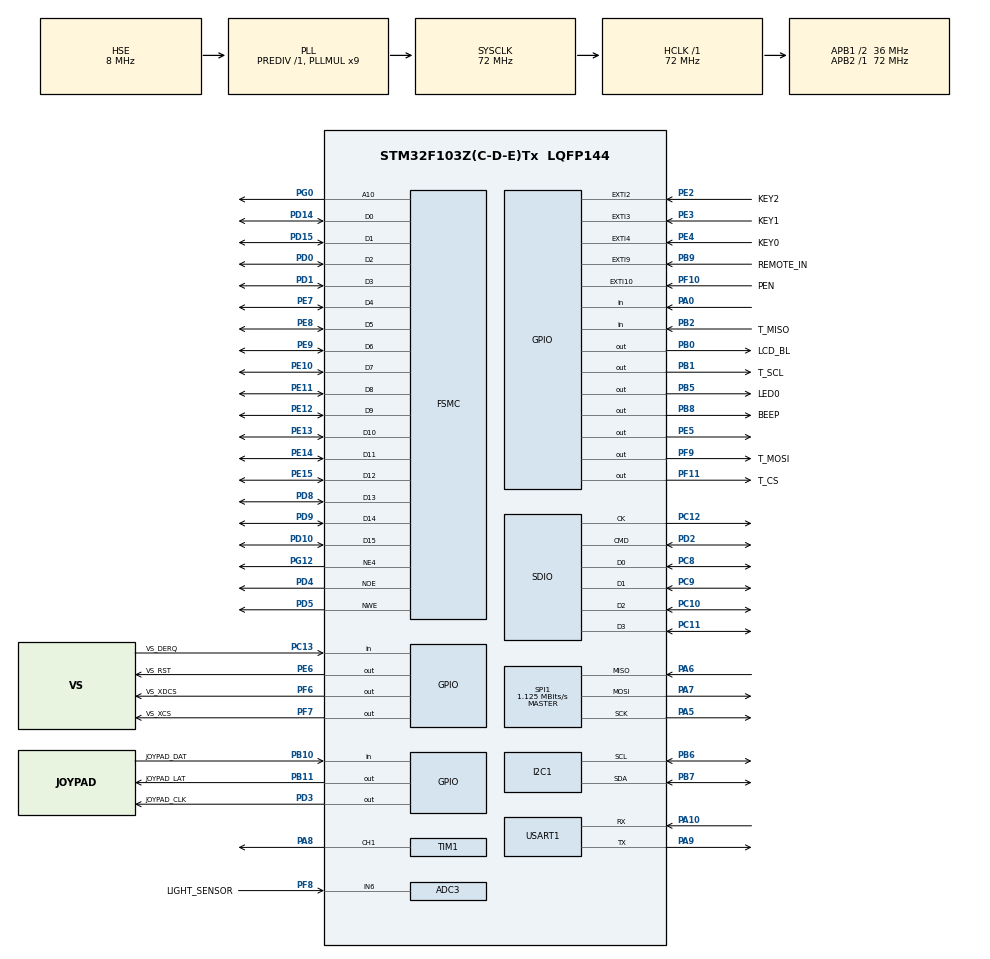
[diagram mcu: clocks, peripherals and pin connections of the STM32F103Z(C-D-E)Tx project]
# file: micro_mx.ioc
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SH.FSMC_D1_DA1.0=FSMC_D1,16b-d1
SPI1.VirtualType=VM_MASTER
FATFS0.BSP.api=Unknown
VP_ADC1_TempSens_Input.Mode=IN-TempSens
VP_FATFS_VS_SDIO.Mode=SDIO
PC12.Signal=SDIO_CK
SH.FSMC_NWE.0=FSMC_NWE,Lcd1
PG0.Signal=FSMC_A10
FATFS._FS_TINY=0
PF6.GPIO_Label=VS_XDCS
PE6.GPIO_Label=VS_RST
RCC.SYSCLKSource=RCC_SYSCLKSOURCE_PLLCLK
PF7.Signal=GPIO_Output
SPI1.Direction=SPI_DIRECTION_2LINES
PD4.Signal=FSMC_NOE
RCC.APB2TimFreq_Value=72000000
PB6.Signal=I2C1_SCL
PB6.Mode=I2C
SPI1.CalculateBaudRate=1.125 MBits/s
PD0.Signal=FSMC_D2_DA2
PD8.Signal=FSMC_D13_DA13
PE5.Signal=GPIO_Output
PF10.GPIO_Label=PEN
FATFS0.BSP.ip=GPIO
NVIC.EXTI15_10_IRQn=true\:0\:0\:false\:false\:true\:true\:true
PB2.Signal=GPIO_Input
PB3.Mode=JTAG_5_pins
FATFS0.BSP.i2caddr=0
ADC3.SamplingTime-2\#ChannelRegularConversion=ADC_SAMPLETIME_1CYCLE_5
RCC.RTCClockSelection=RCC_RTCCLKSOURCE_LSE
SH.FSMC_D10_DA10.0=FSMC_D10,16b-d1
TIM1.Channel-PWM\ Generation1\ CH1=TIM_CHANNEL_1
PE9.Signal=FSMC_D6_DA6
PB1.GPIO_Label=T_SCL
ADC3.ContinuousConvMode=ENABLE
NVIC.TIM2_IRQn=true\:0\:0\:false\:false\:true\:true\:true
PE4.GPIO_Label=KEY0
PC9.Mode=SD_4_bits_Wide_bus
PE2.Signal=GPXTI2
PA8.Signal=S_TIM1_CH1
FSMC.BusTurnAroundDuration1=0
ADC3.Channel-2\#ChannelRegularConversion=ADC_CHANNEL_6
PE10.Signal=FSMC_D7_DA7
SH.FSMC_D5_DA5.0=FSMC_D5,16b-d1
VP_TIM1_VS_ClockSourceINT.Mode=Internal
ADC1.SamplingTime-0\#ChannelRegularConversion=ADC_SAMPLETIME_1CYCLE_5
Mcu.Package=LQFP144
PB9.Signal=GPXTI9
TIM2.Prescaler=72
PB1.Signal=GPIO_Output
FATFS0.BSP.solution=PA0-WKUP
PA10.Signal=USART1_RX
PC11.Mode=SD_4_bits_Wide_bus
NVIC.EXTI2_IRQn=true\:3\:0\:true\:false\:true\:true\:true
SH.FSMC_D3_DA3.0=FSMC_D3,16b-d1
RCC.APB1TimFreq_Value=72000000
Dma.SDIO.0.Direction=DMA_PERIPH_TO_MEMORY
TIM1.Period=1000
NVIC.USART1_IRQn=true\:0\:0\:false\:false\:true\:true\:true
PD15.Signal=FSMC_D1_DA1
PA5.Mode=Full_Duplex_Master
PG12.Signal=FSMC_NE4
PF7.PinState=GPIO_PIN_SET
FATFS0.BSP.STBoard=false
NVIC.EXTI4_IRQn=true\:3\:0\:true\:false\:true\:true\:true
ADC1.Rank-0\#ChannelRegularConversion=1
FATFS0.BSP.mode=Input
PD3.Signal=GPIO_Output
PB11.GPIO_Label=JOYPAD_LAT
RCC.USBPrescaler=RCC_USBCLKSOURCE_PLL_DIV1_5
PD1.Signal=FSMC_D3_DA3
SH.FSMC_D9_DA9.0=FSMC_D9,16b-d1
Dma.SDIO.0.MemDataAlignment=DMA_MDATAALIGN_WORD
RCC.APB1CLKDivider=RCC_HCLK_DIV2
PC14-OSC32_IN.Signal=RCC_OSC32_IN
PA0-WKUP.Signal=GPIO_Input
SH.FSMC_D8_DA8.0=FSMC_D8,16b-d1
PF8.GPIO_Label=LIGHT_SENSOR
PD10.Signal=FSMC_D15_DA15
PB8.GPIO_Label=BEEP
FSMC.DataSetupTime1=26
I2C1.I2C_Mode=I2C_Standard
PA9.Signal=USART1_TX
Dma.SDIO.0.MemInc=DMA_MINC_ENABLE
OSC_IN.Signal=RCC_OSC_IN
Dma.SDIO.0.PeriphDataAlignment=DMA_PDATAALIGN_WORD
SDIO.ClockDiv=3
PB10.Signal=GPIO_Input
FATFS.BSP.number=1
PE2.GPIO_PuPd=GPIO_PULLUP
PA5.Signal=SPI1_SCK
PC12.Mode=SD_4_bits_Wide_bus
SH.FSMC_D7_DA7.0=FSMC_D7,16b-d1
PC13-TAMPER-RTC.GPIO_Label=VS_DERQ
NVIC.TIM3_IRQn=true\:0\:0\:false\:false\:true\:true\:true
PE14.Signal=FSMC_D11_DA11
PE15.Signal=FSMC_D12_DA12
PE8.Signal=FSMC_D5_DA5
SPI1.Mode=SPI_MODE_MASTER
PE3.GPIO_PuPd=GPIO_PULLUP
TIM2.Period=125
PA13.Mode=JTAG_5_pins
PE4.GPIO_PuPd=GPIO_PULLUP
PC8.Mode=SD_4_bits_Wide_bus
PB5.Signal=GPIO_Output
ADC1.master=1
OSC_IN.Mode=HSE-External-Oscillator
Dma.SDIO.0.PeriphInc=DMA_PINC_DISABLE
USART1.VirtualMode=VM_ASYNC
SH.FSMC_D15_DA15.0=FSMC_D15,16b-d1
ProjectManager.HeapSize=0x400
PF9.Signal=GPIO_Output
NVIC.PriorityGroup=NVIC_PRIORITYGROUP_4
SDIO.HardwareFlowControl=SDIO_HARDWARE_FLOW_CONTROL_DISABLE
PE3.Signal=GPXTI3
PA0-WKUP.GPIO_PuPd=GPIO_PULLUP
PE2.GPIO_ModeDefaultEXTI=GPIO_MODE_IT_FALLING
PD2.Signal=SDIO_CMD
PB0.Signal=GPIO_Output
FATFS0.BSP.name=Detect_SDIO
Mcu.Family=STM32F1
FSMC.AddressSetupTime1=6
PA6.Mode=Full_Duplex_Master
ADC1.ContinuousConvMode=ENABLE
PC10.Signal=SDIO_D2
SH.FSMC_D0_DA0.0=FSMC_D0,16b-d1
NVIC.EXTI3_IRQn=true\:3\:0\:true\:false\:true\:true\:true
PB0.GPIO_Label=LCD_BL
PF10.GPIO_ModeDefaultEXTI=GPIO_MODE_IT_FALLING
TIM1.Pulse-PWM\ Generation1\ CH1=0
TIM1.OCFastMode_PWM-PWM\ Generation1\ CH1=TIM_OCFAST_ENABLE
PB11.Signal=GPIO_Output
ADC3.Rank-2\#ChannelRegularConversion=1
ProjectManager.StackSize=0x800
RCC.HCLKFreq_Value=72000000
TIM3.Period=7190
PF11.GPIO_Label=T_CS
PB5.PinState=GPIO_PIN_SET
PB9.GPIO_ModeDefaultEXTI=GPIO_MODE_IT_FALLING
OSC_OUT.Mode=HSE-External-Oscillator
SH.FSMC_A10.0=FSMC_A10,A10_1
OSC_OUT.Signal=RCC_OSC_OUT
RCC.AHBFreq_Value=72000000
ADC1.Channel-0\#ChannelRegularConversion=ADC_CHANNEL_TEMPSENSOR
Dma.SDIO.0.Priority=DMA_PRIORITY_LOW
PA15.Mode=JTAG_5_pins
RCC.PLLMUL=RCC_PLL_MUL9
PB4.Mode=JTAG_5_pins
PE13.Signal=FSMC_D10_DA10
SH.FSMC_D14_DA14.0=FSMC_D14,16b-d1
PF7.GPIO_Label=VS_XCS
PC14-OSC32_IN.Mode=LSE-External-Oscillator
PA14.Mode=JTAG_5_pins
TIM3.Prescaler=999
PF11.Signal=GPIO_Output
SH.FSMC_D6_DA6.0=FSMC_D6,16b-d1
PF11.PinState=GPIO_PIN_SET
PB7.Signal=I2C1_SDA
PE4.Signal=GPXTI4
SH.FSMC_D4_DA4.0=FSMC_D4,16b-d1
PA6.Signal=SPI1_MISO
SH.FSMC_D13_DA13.0=FSMC_D13,16b-d1
PA15.Signal=SYS_JTDI
PF8.Signal=SharedAnalog_PF8
PB5.GPIO_Label=LED0
SH.FSMC_D2_DA2.0=FSMC_D2,16b-d1
PD3.GPIO_Label=JOYPAD_CLK
NVIC.DMA2_Channel4_5_IRQn=true\:0\:0\:false\:false\:true\:false\:true
PE7.Signal=FSMC_D4_DA4
Dma.Request0=SDIO
SPI1.BaudRatePrescaler=SPI_BAUDRATEPRESCALER_64
PE2.GPIO_Label=KEY2
VP_TIM3_VS_ClockSourceINT.Mode=Internal
PB4.Signal=SYS_NJTRST
Dma.SDIO.0.Instance=DMA2_Channel4
PE3.GPIO_ModeDefaultEXTI=GPIO_MODE_IT_FALLING
RCC.PLLSourceVirtual=RCC_PLLSOURCE_HSE
PC15-OSC32_OUT.Mode=LSE-External-Oscillator
SH.FSMC_D12_DA12.0=FSMC_D12,16b-d1
PA7.Mode=Full_Duplex_Master
PB9.GPIO_Label=REMOTE_IN
PA10.Mode=Asynchronous
PC11.Signal=SDIO_D3
PC8.Signal=SDIO_D0
PC10.Mode=SD_4_bits_Wide_bus
PE4.GPIO_ModeDefaultEXTI=GPIO_MODE_IT_FALLING
PC13-TAMPER-RTC.Signal=GPIO_Input
PD9.Signal=FSMC_D14_DA14
PD5.Signal=FSMC_NWE
SH.SharedAnalog_PF8.1=ADC3_IN6,IN6
NVIC.SDIO_IRQn=true\:0\:0\:false\:false\:true\:true\:true
SH.SharedAnalog_PF8.0=GPIO_Analog
RCC.ADCPresc=RCC_ADCPCLK2_DIV6
SDIO.ClockBypass=SDIO_CLOCK_BYPASS_DISABLE
FATFS0.BSP.instance=PA0-WKUP
PA13.Signal=SYS_JTMS-SWDIO
PA9.Mode=Asynchronous
SH.S_TIM1_CH1.0=TIM1_CH1,PWM Generation1 CH1
PF6.Signal=GPIO_Output
ProjectManager.TargetToolchain=STM32CubeIDE
PB10.GPIO_Label=JOYPAD_DAT
RCC.USBFreq_Value=48000000
PF9.GPIO_Label=T_MOSI
PE11.Signal=FSMC_D8_DA8
PC15-OSC32_OUT.Signal=RCC_OSC32_OUT
PD2.Mode=SD_4_bits_Wide_bus
board=custom
PG12.Mode=NorPsramChipSelect4_1
RCC.APB2Freq_Value=72000000
VP_TIM2_VS_ClockSourceINT.Mode=Internal
PF10.Signal=GPXTI10
Dma.SDIO.0.Mode=DMA_NORMAL
PE6.Signal=GPIO_Output
Mcu.Name=STM32F103Z(C-D-E)Tx
PE12.Signal=FSMC_D9_DA9
PD14.Signal=FSMC_D0_DA0
PB3.Signal=SYS_JTDO-TRACESWO
RCC.SYSCLKFreq_VALUE=72000000
PB7.Mode=I2C
NVIC.EXTI9_5_IRQn=true\:0\:0\:false\:false\:true\:true\:true
PA14.Signal=SYS_JTCK-SWCLK
PB2.GPIO_Label=T_MISO
SH.FSMC_D11_DA11.0=FSMC_D11,16b-d1
SH.FSMC_NOE.0=FSMC_NOE,Lcd1
ADC1.NbrOfConversionFlag=1
PB8.Signal=GPIO_Output
PE3.GPIO_Label=KEY1
PC9.Signal=SDIO_D1
RCC.APB1Freq_Value=36000000
ADC3.NbrOfConversionFlag=1
PA7.Signal=SPI1_MOSI

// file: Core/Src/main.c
/* USER CODE BEGIN Header */
/**
  ******************************************************************************
  * @file           : main.c
  * @brief          : Main program body
  ******************************************************************************
  * @attention
  *
  * <h2><center>&copy; Copyright (c) 2021 STMicroelectronics.
  * All rights reserved.</center></h2>
  *
  * This software component is licensed by ST under BSD 3-Clause license,
  * the "License"; You may not use this file except in compliance with the
  * License. You may obtain a copy of the License at:
  *                        opensource.org/licenses/BSD-3-Clause
  *
  ******************************************************************************
  */
/* USER CODE END Header */
#include "main.h"
#include "fatfs.h"

ADC_HandleTypeDef hadc1;
ADC_HandleTypeDef hadc3;

I2C_HandleTypeDef hi2c1;

SD_HandleTypeDef hsd;
DMA_HandleTypeDef hdma_sdio;

SPI_HandleTypeDef hspi1;

TIM_HandleTypeDef htim1;
TIM_HandleTypeDef htim2;
TIM_HandleTypeDef htim3;

UART_HandleTypeDef huart1;

SRAM_HandleTypeDef hsram1;

/* USER CODE BEGIN PV */

uint8_t touch_flag;
unsigned int t_cnt=0;
int t_ctrl = 0;
int check=1;
int up_flag=0;
int down_flag=0;
int timeout=0;
uint8_t change=0;
uint16_t q=0;
extern uint8_t two_touch;
extern uint8_t vol_check;
uint8_t vol_flag=0;

uint8_t joypad[10];

/* USER CODE END PV */

void SystemClock_Config(void);
static void MX_GPIO_Init(void);
static void MX_DMA_Init(void);
static void MX_USART1_UART_Init(void);
static void MX_ADC1_Init(void);
static void MX_ADC3_Init(void);
static void MX_I2C1_Init(void);
static void MX_TIM1_Init(void);
static void MX_SPI1_Init(void);
static void MX_FSMC_Init(void);
static void MX_SDIO_SD_Init(void);
static void MX_TIM2_Init(void);
static void MX_TIM3_Init(void);

/* USER CODE BEGIN 0 */
char filname[100][20];
unsigned long filsize[100];
uint16_t musicfil[100];
uint16_t musiccnt=0;
uint16_t filnum=0;
BYTE buf[32];
uint32_t br;
uint8_t type=1;
char playingtime[10];

/* USER CODE END 0 */

int main(void)
{

  /* MCU Configuration--------------------------------------------------------*/

  /* Reset of all peripherals, Initializes the Flash interface and the Systick. */
  HAL_Init();

  /* Configure the system clock */
  SystemClock_Config();

  /* Initialize all configured peripherals */
  MX_GPIO_Init();
  MX_DMA_Init();
  MX_USART1_UART_Init();
  MX_ADC1_Init();
  MX_ADC3_Init();
  MX_I2C1_Init();
  MX_TIM1_Init();
  MX_SPI1_Init();
  MX_FSMC_Init();
  MX_SDIO_SD_Init();
  MX_FATFS_Init();
  MX_TIM2_Init();
  MX_TIM3_Init();
  /* USER CODE BEGIN 2 */

  //SD카드 마운트
  retSD = f_mount(&SDFatFS, (TCHAR const*)SDPath, 0);
  HAL_Delay(100);
  retSD = f_mkfs((TCHAR const*)SDPath, 0, 0);
  HAL_Delay(100);

  //SD 카드 파일 읽기
  DIR mydir;
  FILINFO fno;
  if((retSD = f_opendir(&mydir,"0:/"))==FR_OK)
  {
	  while(1)
	  {
		  retSD=f_readdir(&mydir,&fno);
		  if(mydir.sect ==  0) break;
		  sprintf(filname[filnum],"%s",fno.fname);
		  filsize[filnum]=fno.fsize;
		  filnum++;
	  }
  }
  sprintf(filname[0],"\0");

  //음원 파일 선별
  uint16_t len=0;
  for(int i=0;i<filnum;i++)
  {
	  len=strlen(filname[i]);
	  if((filname[i][len-1]=='3')&&(filname[i][len-4]=='.'))
	  {
		  musicfil[musiccnt]=i;
		  musiccnt++;
	  }
  }

  //LCD 초기화
  LCD_BL_on();
  LCD_init();

  //LCD 초기 화면 구성
  LCD_Draw_Base();
  LCD_Menu_Set();

  //스피커 사용을 위한 초기화
  MP3_Init();
  Codex_Speaker_on();
  Codex_Vol(0xf0f0);

  //실시간 타이머 (10Hz 사용)
  HAL_TIM_Base_Start_IT(&htim3);

  /* USER CODE END 2 */

  /* Infinite loop */
  /* USER CODE BEGIN WHILE */

  //인터럽트의 결과값을 받아 WHILE로 재생 ( 인터럽트 충돌 및 음원파일 오류를 차단 )
  while (1)
  {
	  //더블 터치 -> TYPE 변경
	  if(two_touch>=2)
	  {
		  type=(type+1)%4;
		  LCD_Type(type);
		  two_touch=0;
		  change=0;
	  }
	  //15초간 동작 없으면 화면 off
	  if(timeout==150)
		  LCD_BL_off();

	  if(vol_flag==1)
	  {
		  //그림이 여러번 그려지는 것을 막기 위해 2로 세팅
		  vol_flag=2;

		  // 볼륨 기본세팅을 모두 으로 하여 볼륨바 제거
		  LCD_Draw_Box(48, 26,70,150, COLOR_WHITE);
		  LCD_Draw_Str(46, 148, "+", COLOR_WHITE, 0);
		  LCD_Draw_Str(74, 148, "-", COLOR_WHITE, 0);

		  //음표 그림
		  LCD_Draw_Char1(80, 60,COLOR_BLACK,20 ,31);
	  }

	  //노래 동작 및 1초가 지날때마다 작동
	  if((t_cnt%10==0)&&(check==0))
	  {
		  upTime();
		  check=1;
	  }

	  //음악 재생
	  MP3_Feeder();

	  //터치
	  if(touch_flag==1)
	  {
		  Touch_read();
		  touch_flag=0;
	  }

	  //메뉴에서 노래 선택 위치
	  if(up_flag==1)
	  {
		  upclick();
		  up_flag=0;
	  }
	  if(down_flag==1)
	  {
		  downclick();
		  down_flag=0;
	  }

    /* USER CODE END WHILE */

  }
}

void SystemClock_Config(void)
{
  RCC_OscInitTypeDef RCC_OscInitStruct = {0};
  RCC_ClkInitTypeDef RCC_ClkInitStruct = {0};
  RCC_PeriphCLKInitTypeDef PeriphClkInit = {0};

  /** Initializes the RCC Oscillators according to the specified parameters
  * in the RCC_OscInitTypeDef structure.
  */
  RCC_OscInitStruct.OscillatorType = RCC_OSCILLATORTYPE_HSE;
  RCC_OscInitStruct.HSEState = RCC_HSE_ON;
  RCC_OscInitStruct.HSEPredivValue = RCC_HSE_PREDIV_DIV1;
  RCC_OscInitStruct.HSIState = RCC_HSI_ON;
  RCC_OscInitStruct.PLL.PLLState = RCC_PLL_ON;
  RCC_OscInitStruct.PLL.PLLSource = RCC_PLLSOURCE_HSE;
  RCC_OscInitStruct.PLL.PLLMUL = RCC_PLL_MUL9;
  if (HAL_RCC_OscConfig(&RCC_OscInitStruct) != HAL_OK)
  {
    Error_Handler();
  }
  /** Initializes the CPU, AHB and APB buses clocks
  */
  RCC_ClkInitStruct.ClockType = RCC_CLOCKTYPE_HCLK|RCC_CLOCKTYPE_SYSCLK
                              |RCC_CLOCKTYPE_PCLK1|RCC_CLOCKTYPE_PCLK2;
  RCC_ClkInitStruct.SYSCLKSource = RCC_SYSCLKSOURCE_PLLCLK;
  RCC_ClkInitStruct.AHBCLKDivider = RCC_SYSCLK_DIV1;
  RCC_ClkInitStruct.APB1CLKDivider = RCC_HCLK_DIV2;
  RCC_ClkInitStruct.APB2CLKDivider = RCC_HCLK_DIV1;

  if (HAL_RCC_ClockConfig(&RCC_ClkInitStruct, FLASH_LATENCY_2) != HAL_OK)
  {
    Error_Handler();
  }
  PeriphClkInit.PeriphClockSelection = RCC_PERIPHCLK_ADC;
  PeriphClkInit.AdcClockSelection = RCC_ADCPCLK2_DIV6;
  if (HAL_RCCEx_PeriphCLKConfig(&PeriphClkInit) != HAL_OK)
  {
    Error_Handler();
  }
}

static void MX_ADC1_Init(void)
{

  ADC_ChannelConfTypeDef sConfig = {0};

  /** Common config
  */
  hadc1.Instance = ADC1;
  hadc1.Init.ScanConvMode = ADC_SCAN_DISABLE;
  hadc1.Init.ContinuousConvMode = ENABLE;
  hadc1.Init.DiscontinuousConvMode = DISABLE;
  hadc1.Init.ExternalTrigConv = ADC_SOFTWARE_START;
  hadc1.Init.DataAlign = ADC_DATAALIGN_RIGHT;
  hadc1.Init.NbrOfConversion = 1;
  if (HAL_ADC_Init(&hadc1) != HAL_OK)
  {
    Error_Handler();
  }
  /** Configure Regular Channel
  */
  sConfig.Channel = ADC_CHANNEL_TEMPSENSOR;
  sConfig.Rank = ADC_REGULAR_RANK_1;
  sConfig.SamplingTime = ADC_SAMPLETIME_1CYCLE_5;
  if (HAL_ADC_ConfigChannel(&hadc1, &sConfig) != HAL_OK)
  {
    Error_Handler();
  }

}

static void MX_ADC3_Init(void)
{

  ADC_ChannelConfTypeDef sConfig = {0};

  /** Common config
  */
  hadc3.Instance = ADC3;
  hadc3.Init.ScanConvMode = ADC_SCAN_DISABLE;
  hadc3.Init.ContinuousConvMode = ENABLE;
  hadc3.Init.DiscontinuousConvMode = DISABLE;
  hadc3.Init.ExternalTrigConv = ADC_SOFTWARE_START;
  hadc3.Init.DataAlign = ADC_DATAALIGN_RIGHT;
  hadc3.Init.NbrOfConversion = 1;
  if (HAL_ADC_Init(&hadc3) != HAL_OK)
  {
    Error_Handler();
  }
  /** Configure Regular Channel
  */
  sConfig.Channel = ADC_CHANNEL_6;
  sConfig.Rank = ADC_REGULAR_RANK_1;
  sConfig.SamplingTime = ADC_SAMPLETIME_1CYCLE_5;
  if (HAL_ADC_ConfigChannel(&hadc3, &sConfig) != HAL_OK)
  {
    Error_Handler();
  }

}

static void MX_I2C1_Init(void)
{

  hi2c1.Instance = I2C1;
  hi2c1.Init.ClockSpeed = 100000;
  hi2c1.Init.DutyCycle = I2C_DUTYCYCLE_2;
  hi2c1.Init.OwnAddress1 = 0;
  hi2c1.Init.AddressingMode = I2C_ADDRESSINGMODE_7BIT;
  hi2c1.Init.DualAddressMode = I2C_DUALADDRESS_DISABLE;
  hi2c1.Init.OwnAddress2 = 0;
  hi2c1.Init.GeneralCallMode = I2C_GENERALCALL_DISABLE;
  hi2c1.Init.NoStretchMode = I2C_NOSTRETCH_DISABLE;
  if (HAL_I2C_Init(&hi2c1) != HAL_OK)
  {
    Error_Handler();
  }

}

static void MX_SDIO_SD_Init(void)
{

  hsd.Instance = SDIO;
  hsd.Init.ClockEdge = SDIO_CLOCK_EDGE_RISING;
  hsd.Init.ClockBypass = SDIO_CLOCK_BYPASS_DISABLE;
  hsd.Init.ClockPowerSave = SDIO_CLOCK_POWER_SAVE_DISABLE;
  hsd.Init.BusWide = SDIO_BUS_WIDE_1B;
  hsd.Init.HardwareFlowControl = SDIO_HARDWARE_FLOW_CONTROL_DISABLE;
  hsd.Init.ClockDiv = 3;
  /* USER CODE BEGIN SDIO_Init 2 */
  HAL_SD_Init(&hsd);
  HAL_SD_InitCard(&hsd);
  /* USER CODE END SDIO_Init 2 */

}

static void MX_SPI1_Init(void)
{

  /* SPI1 parameter configuration*/
  hspi1.Instance = SPI1;
  hspi1.Init.Mode = SPI_MODE_MASTER;
  hspi1.Init.Direction = SPI_DIRECTION_2LINES;
  hspi1.Init.DataSize = SPI_DATASIZE_8BIT;
  hspi1.Init.CLKPolarity = SPI_POLARITY_LOW;
  hspi1.Init.CLKPhase = SPI_PHASE_1EDGE;
  hspi1.Init.NSS = SPI_NSS_SOFT;
  hspi1.Init.BaudRatePrescaler = SPI_BAUDRATEPRESCALER_64;
  hspi1.Init.FirstBit = SPI_FIRSTBIT_MSB;
  hspi1.Init.TIMode = SPI_TIMODE_DISABLE;
  hspi1.Init.CRCCalculation = SPI_CRCCALCULATION_DISABLE;
  hspi1.Init.CRCPolynomial = 10;
  if (HAL_SPI_Init(&hspi1) != HAL_OK)
  {
    Error_Handler();
  }

}

static void MX_TIM1_Init(void)
{

  TIM_ClockConfigTypeDef sClockSourceConfig = {0};
  TIM_MasterConfigTypeDef sMasterConfig = {0};
  TIM_OC_InitTypeDef sConfigOC = {0};
  TIM_BreakDeadTimeConfigTypeDef sBreakDeadTimeConfig = {0};

  htim1.Instance = TIM1;
  htim1.Init.Prescaler = 0;
  htim1.Init.CounterMode = TIM_COUNTERMODE_UP;
  htim1.Init.Period = 1000;
  htim1.Init.ClockDivision = TIM_CLOCKDIVISION_DIV1;
  htim1.Init.RepetitionCounter = 0;
  htim1.Init.AutoReloadPreload = TIM_AUTORELOAD_PRELOAD_DISABLE;
  if (HAL_TIM_Base_Init(&htim1) != HAL_OK)
  {
    Error_Handler();
  }
  sClockSourceConfig.ClockSource = TIM_CLOCKSOURCE_INTERNAL;
  if (HAL_TIM_ConfigClockSource(&htim1, &sClockSourceConfig) != HAL_OK)
  {
    Error_Handler();
  }
  if (HAL_TIM_PWM_Init(&htim1) != HAL_OK)
  {
    Error_Handler();
  }
  sMasterConfig.MasterOutputTrigger = TIM_TRGO_RESET;
  sMasterConfig.MasterSlaveMode = TIM_MASTERSLAVEMODE_DISABLE;
  if (HAL_TIMEx_MasterConfigSynchronization(&htim1, &sMasterConfig) != HAL_OK)
  {
    Error_Handler();
  }
  sConfigOC.OCMode = TIM_OCMODE_PWM1;
  sConfigOC.Pulse = 0;
  sConfigOC.OCPolarity = TIM_OCPOLARITY_HIGH;
  sConfigOC.OCNPolarity = TIM_OCNPOLARITY_HIGH;
  sConfigOC.OCFastMode = TIM_OCFAST_ENABLE;
  sConfigOC.OCIdleState = TIM_OCIDLESTATE_RESET;
  sConfigOC.OCNIdleState = TIM_OCNIDLESTATE_RESET;
  if (HAL_TIM_PWM_ConfigChannel(&htim1, &sConfigOC, TIM_CHANNEL_1) != HAL_OK)
  {
    Error_Handler();
  }
  sBreakDeadTimeConfig.OffStateRunMode = TIM_OSSR_DISABLE;
  sBreakDeadTimeConfig.OffStateIDLEMode = TIM_OSSI_DISABLE;
  sBreakDeadTimeConfig.LockLevel = TIM_LOCKLEVEL_OFF;
  sBreakDeadTimeConfig.DeadTime = 0;
  sBreakDeadTimeConfig.BreakState = TIM_BREAK_DISABLE;
  sBreakDeadTimeConfig.BreakPolarity = TIM_BREAKPOLARITY_HIGH;
  sBreakDeadTimeConfig.AutomaticOutput = TIM_AUTOMATICOUTPUT_DISABLE;
  if (HAL_TIMEx_ConfigBreakDeadTime(&htim1, &sBreakDeadTimeConfig) != HAL_OK)
  {
    Error_Handler();
  }
  HAL_TIM_MspPostInit(&htim1);

}

static void MX_TIM2_Init(void)
{

  TIM_ClockConfigTypeDef sClockSourceConfig = {0};
  TIM_MasterConfigTypeDef sMasterConfig = {0};

  htim2.Instance = TIM2;
  htim2.Init.Prescaler = 72;
  htim2.Init.CounterMode = TIM_COUNTERMODE_UP;
  htim2.Init.Period = 125;
  htim2.Init.ClockDivision = TIM_CLOCKDIVISION_DIV1;
  htim2.Init.AutoReloadPreload = TIM_AUTORELOAD_PRELOAD_DISABLE;
  if (HAL_TIM_Base_Init(&htim2) != HAL_OK)
  {
    Error_Handler();
  }
  sClockSourceConfig.ClockSource = TIM_CLOCKSOURCE_INTERNAL;
  if (HAL_TIM_ConfigClockSource(&htim2, &sClockSourceConfig) != HAL_OK)
  {
    Error_Handler();
  }
  sMasterConfig.MasterOutputTrigger = TIM_TRGO_RESET;
  sMasterConfig.MasterSlaveMode = TIM_MASTERSLAVEMODE_DISABLE;
  if (HAL_TIMEx_MasterConfigSynchronization(&htim2, &sMasterConfig) != HAL_OK)
  {
    Error_Handler();
  }

}

static void MX_TIM3_Init(void)
{

  TIM_ClockConfigTypeDef sClockSourceConfig = {0};
  TIM_MasterConfigTypeDef sMasterConfig = {0};

  htim3.Instance = TIM3;
  htim3.Init.Prescaler = 999;
  htim3.Init.CounterMode = TIM_COUNTERMODE_UP;
  htim3.Init.Period = 7190;
  htim3.Init.ClockDivision = TIM_CLOCKDIVISION_DIV1;
  htim3.Init.AutoReloadPreload = TIM_AUTORELOAD_PRELOAD_DISABLE;
  if (HAL_TIM_Base_Init(&htim3) != HAL_OK)
  {
    Error_Handler();
  }
  sClockSourceConfig.ClockSource = TIM_CLOCKSOURCE_INTERNAL;
  if (HAL_TIM_ConfigClockSource(&htim3, &sClockSourceConfig) != HAL_OK)
  {
    Error_Handler();
  }
  sMasterConfig.MasterOutputTrigger = TIM_TRGO_RESET;
  sMasterConfig.MasterSlaveMode = TIM_MASTERSLAVEMODE_DISABLE;
  if (HAL_TIMEx_MasterConfigSynchronization(&htim3, &sMasterConfig) != HAL_OK)
  {
    Error_Handler();
  }

}

static void MX_USART1_UART_Init(void)
{

  huart1.Instance = USART1;
  huart1.Init.BaudRate = 115200;
  huart1.Init.WordLength = UART_WORDLENGTH_8B;
  huart1.Init.StopBits = UART_STOPBITS_1;
  huart1.Init.Parity = UART_PARITY_NONE;
  huart1.Init.Mode = UART_MODE_TX_RX;
  huart1.Init.HwFlowCtl = UART_HWCONTROL_NONE;
  huart1.Init.OverSampling = UART_OVERSAMPLING_16;
  if (HAL_UART_Init(&huart1) != HAL_OK)
  {
    Error_Handler();
  }

}

static void MX_DMA_Init(void)
{

  /* DMA controller clock enable */
  __HAL_RCC_DMA2_CLK_ENABLE();

  /* DMA interrupt init */
  /* DMA2_Channel4_5_IRQn interrupt configuration */
  HAL_NVIC_SetPriority(DMA2_Channel4_5_IRQn, 0, 0);
  HAL_NVIC_EnableIRQ(DMA2_Channel4_5_IRQn);

}

static void MX_GPIO_Init(void)
{
  GPIO_InitTypeDef GPIO_InitStruct = {0};

  /* GPIO Ports Clock Enable */
  __HAL_RCC_GPIOE_CLK_ENABLE();
  __HAL_RCC_GPIOC_CLK_ENABLE();
  __HAL_RCC_GPIOF_CLK_ENABLE();
  __HAL_RCC_GPIOA_CLK_ENABLE();
  __HAL_RCC_GPIOB_CLK_ENABLE();
  __HAL_RCC_GPIOG_CLK_ENABLE();
  __HAL_RCC_GPIOD_CLK_ENABLE();

  /*Configure GPIO pin Output Level */
  HAL_GPIO_WritePin(GPIOE, GPIO_PIN_5|VS_RST_Pin, GPIO_PIN_RESET);

  /*Configure GPIO pin Output Level */
  HAL_GPIO_WritePin(GPIOF, VS_XDCS_Pin|T_MOSI_Pin, GPIO_PIN_RESET);

  /*Configure GPIO pin Output Level */
  HAL_GPIO_WritePin(GPIOF, VS_XCS_Pin|T_CS_Pin, GPIO_PIN_SET);

  /*Configure GPIO pin Output Level */
  HAL_GPIO_WritePin(GPIOB, LCD_BL_Pin|T_SCL_Pin|JOYPAD_LAT_Pin|BEEP_Pin, GPIO_PIN_RESET);

  /*Configure GPIO pin Output Level */
  HAL_GPIO_WritePin(JOYPAD_CLK_GPIO_Port, JOYPAD_CLK_Pin, GPIO_PIN_RESET);

  /*Configure GPIO pin Output Level */
  HAL_GPIO_WritePin(LED0_GPIO_Port, LED0_Pin, GPIO_PIN_SET);

  /*Configure GPIO pins : KEY2_Pin KEY1_Pin KEY0_Pin */
  GPIO_InitStruct.Pin = KEY2_Pin|KEY1_Pin|KEY0_Pin;
  GPIO_InitStruct.Mode = GPIO_MODE_IT_FALLING;
  GPIO_InitStruct.Pull = GPIO_PULLUP;
  HAL_GPIO_Init(GPIOE, &GPIO_InitStruct);

  /*Configure GPIO pins : PE5 VS_RST_Pin */
  GPIO_InitStruct.Pin = GPIO_PIN_5|VS_RST_Pin;
  GPIO_InitStruct.Mode = GPIO_MODE_OUTPUT_PP;
  GPIO_InitStruct.Pull = GPIO_NOPULL;
  GPIO_InitStruct.Speed = GPIO_SPEED_FREQ_LOW;
  HAL_GPIO_Init(GPIOE, &GPIO_InitStruct);

  /*Configure GPIO pin : VS_DERQ_Pin */
  GPIO_InitStruct.Pin = VS_DERQ_Pin;
  GPIO_InitStruct.Mode = GPIO_MODE_INPUT;
  GPIO_InitStruct.Pull = GPIO_NOPULL;
  HAL_GPIO_Init(VS_DERQ_GPIO_Port, &GPIO_InitStruct);

  /*Configure GPIO pins : VS_XDCS_Pin VS_XCS_Pin T_MOSI_Pin T_CS_Pin */
  GPIO_InitStruct.Pin = VS_XDCS_Pin|VS_XCS_Pin|T_MOSI_Pin|T_CS_Pin;
  GPIO_InitStruct.Mode = GPIO_MODE_OUTPUT_PP;
  GPIO_InitStruct.Pull = GPIO_NOPULL;
  GPIO_InitStruct.Speed = GPIO_SPEED_FREQ_LOW;
  HAL_GPIO_Init(GPIOF, &GPIO_InitStruct);

  /*Configure GPIO pin : PEN_Pin */
  GPIO_InitStruct.Pin = PEN_Pin;
  GPIO_InitStruct.Mode = GPIO_MODE_IT_FALLING;
  GPIO_InitStruct.Pull = GPIO_NOPULL;
  HAL_GPIO_Init(PEN_GPIO_Port, &GPIO_InitStruct);

  /*Configure GPIO pin : PA0 */
  GPIO_InitStruct.Pin = GPIO_PIN_0;
  GPIO_InitStruct.Mode = GPIO_MODE_INPUT;
  GPIO_InitStruct.Pull = GPIO_PULLUP;
  HAL_GPIO_Init(GPIOA, &GPIO_InitStruct);

  /*Configure GPIO pins : LCD_BL_Pin T_SCL_Pin JOYPAD_LAT_Pin LED0_Pin
                           BEEP_Pin */
  GPIO_InitStruct.Pin = LCD_BL_Pin|T_SCL_Pin|JOYPAD_LAT_Pin|LED0_Pin
                          |BEEP_Pin;
  GPIO_InitStruct.Mode = GPIO_MODE_OUTPUT_PP;
  GPIO_InitStruct.Pull = GPIO_NOPULL;
  GPIO_InitStruct.Speed = GPIO_SPEED_FREQ_LOW;
  HAL_GPIO_Init(GPIOB, &GPIO_InitStruct);

  /*Configure GPIO pins : T_MISO_Pin JOYPAD_DAT_Pin */
  GPIO_InitStruct.Pin = T_MISO_Pin|JOYPAD_DAT_Pin;
  GPIO_InitStruct.Mode = GPIO_MODE_INPUT;
  GPIO_InitStruct.Pull = GPIO_NOPULL;
  HAL_GPIO_Init(GPIOB, &GPIO_InitStruct);

  /*Configure GPIO pin : JOYPAD_CLK_Pin */
  GPIO_InitStruct.Pin = JOYPAD_CLK_Pin;
  GPIO_InitStruct.Mode = GPIO_MODE_OUTPUT_PP;
  GPIO_InitStruct.Pull = GPIO_NOPULL;
  GPIO_InitStruct.Speed = GPIO_SPEED_FREQ_LOW;
  HAL_GPIO_Init(JOYPAD_CLK_GPIO_Port, &GPIO_InitStruct);

  /*Configure GPIO pin : REMOTE_IN_Pin */
  GPIO_InitStruct.Pin = REMOTE_IN_Pin;
  GPIO_InitStruct.Mode = GPIO_MODE_IT_FALLING;
  GPIO_InitStruct.Pull = GPIO_NOPULL;
  HAL_GPIO_Init(REMOTE_IN_GPIO_Port, &GPIO_InitStruct);

  /* EXTI interrupt init*/
  HAL_NVIC_SetPriority(EXTI2_IRQn, 3, 0);
  HAL_NVIC_EnableIRQ(EXTI2_IRQn);

  HAL_NVIC_SetPriority(EXTI3_IRQn, 3, 0);
  HAL_NVIC_EnableIRQ(EXTI3_IRQn);

  HAL_NVIC_SetPriority(EXTI4_IRQn, 3, 0);
  HAL_NVIC_EnableIRQ(EXTI4_IRQn);

  HAL_NVIC_SetPriority(EXTI9_5_IRQn, 0, 0);
  HAL_NVIC_EnableIRQ(EXTI9_5_IRQn);

  HAL_NVIC_SetPriority(EXTI15_10_IRQn, 0, 0);
  HAL_NVIC_EnableIRQ(EXTI15_10_IRQn);

}

/* FSMC initialization function */
static void MX_FSMC_Init(void)
{

  FSMC_NORSRAM_TimingTypeDef Timing = {0};

  /** Perform the SRAM1 memory initialization sequence
  */
  hsram1.Instance = FSMC_NORSRAM_DEVICE;
  hsram1.Extended = FSMC_NORSRAM_EXTENDED_DEVICE;
  /* hsram1.Init */
  hsram1.Init.NSBank = FSMC_NORSRAM_BANK4;
  hsram1.Init.DataAddressMux = FSMC_DATA_ADDRESS_MUX_DISABLE;
  hsram1.Init.MemoryType = FSMC_MEMORY_TYPE_SRAM;
  hsram1.Init.MemoryDataWidth = FSMC_NORSRAM_MEM_BUS_WIDTH_16;
  hsram1.Init.BurstAccessMode = FSMC_BURST_ACCESS_MODE_DISABLE;
  hsram1.Init.WaitSignalPolarity = FSMC_WAIT_SIGNAL_POLARITY_LOW;
  hsram1.Init.WrapMode = FSMC_WRAP_MODE_DISABLE;
  hsram1.Init.WaitSignalActive = FSMC_WAIT_TIMING_BEFORE_WS;
  hsram1.Init.WriteOperation = FSMC_WRITE_OPERATION_ENABLE;
  hsram1.Init.WaitSignal = FSMC_WAIT_SIGNAL_DISABLE;
  hsram1.Init.ExtendedMode = FSMC_EXTENDED_MODE_DISABLE;
  hsram1.Init.AsynchronousWait = FSMC_ASYNCHRONOUS_WAIT_DISABLE;
  hsram1.Init.WriteBurst = FSMC_WRITE_BURST_DISABLE;
  /* Timing */
  Timing.AddressSetupTime = 6;
  Timing.AddressHoldTime = 15;
  Timing.DataSetupTime = 26;
  Timing.BusTurnAroundDuration = 0;
  Timing.CLKDivision = 16;
  Timing.DataLatency = 17;
  Timing.AccessMode = FSMC_ACCESS_MODE_A;
  /* ExtTiming */

  if (HAL_SRAM_Init(&hsram1, &Timing, NULL) != HAL_OK)
  {
    Error_Handler( );
  }

  /** Disconnect NADV
  */

  __HAL_AFIO_FSMCNADV_DISCONNECTED();

}

void Error_Handler(void)
{
  __disable_irq();
  while (1)
  {
  }
}

/************************ (C) COPYRIGHT STMicroelectronics *****END OF FILE****/
